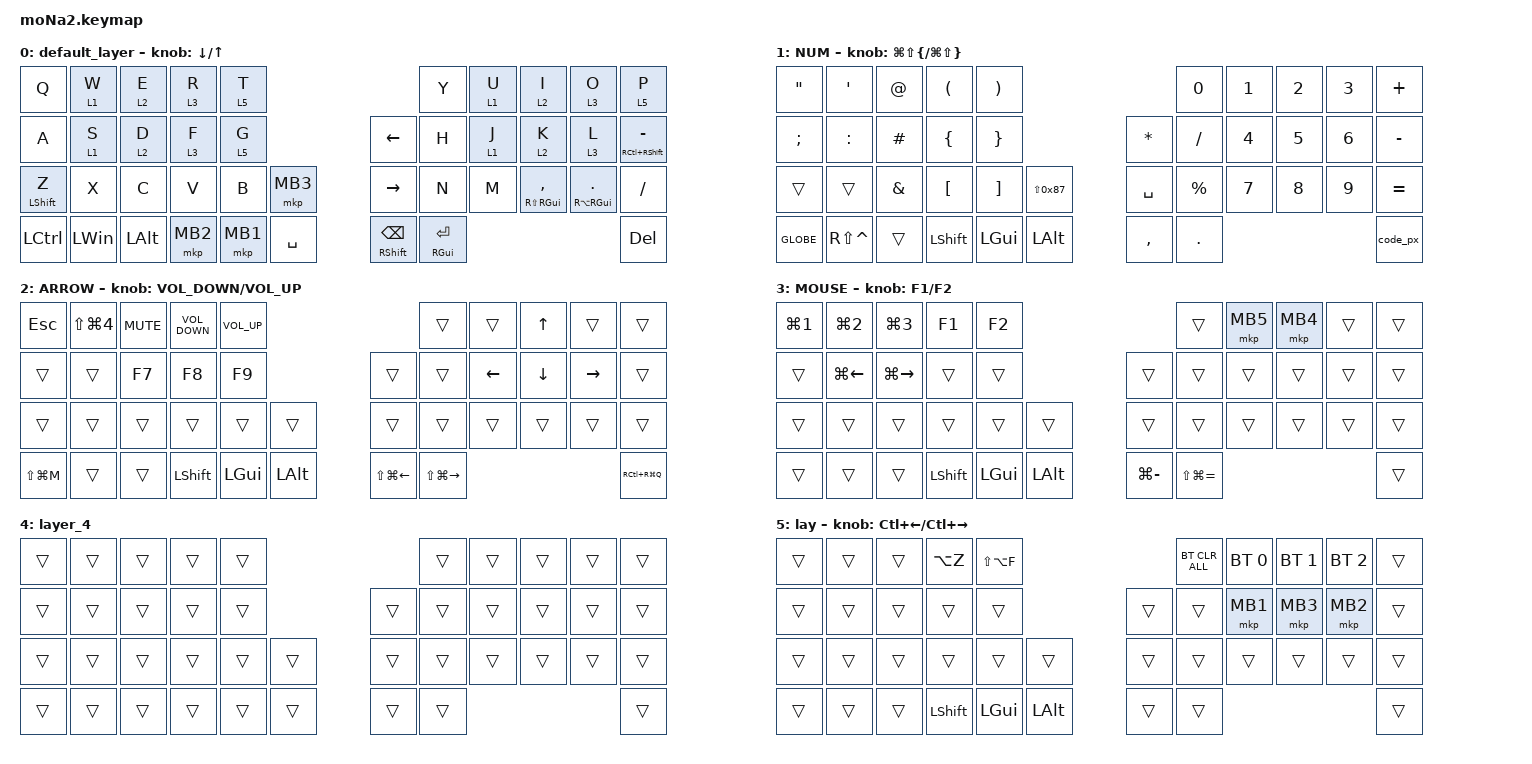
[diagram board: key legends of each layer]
#include <input/processors.dtsi>
#include <dt-bindings/zmk/input_transform.h>
#include <zephyr/dt-bindings/input/input-event-codes.h>
#include <behaviors.dtsi>
#include <dt-bindings/zmk/bt.h>
#include <dt-bindings/zmk/keys.h>
#include <dt-bindings/zmk/pointing.h>

#define MOUSE 5
#define SCROLL 6

&mt {
    flavor = "balanced";
    quick-tap-ms = <0>;
};

&lt {
    quick-tap-ms = <300>;
    flavor = "balanced";
};

/ {
    combos {
        compatible = "zmk,combos";

        tab {
            bindings = <&kp TAB>;
            key-positions = <12 13>;
        };

        shift_tab {
            bindings = <&kp LS(TAB)>;
            key-positions = <11 12>;
        };

        lang1 {
            bindings = <&kp LANG1>;
            key-positions = <7 8>;
        };

        lang2 {
            bindings = <&kp LANG2>;
            key-positions = <6 7>;
        };

        nami {
            bindings = <&kp RS(GRAVE)>;
            key-positions = <29 30>;
        };

        big {
            bindings = <&kp EXCLAMATION>;
            key-positions = <30 31>;
        };

        hatena {
            bindings = <&kp QUESTION>;
            key-positions = <32 31>;
        };

        click {
            bindings = <&mkp MB1>;
            key-positions = <17 18>;
        };

        click2 {
            bindings = <&mkp MB2>;
            key-positions = <18 19>;
        };

        kakko {
            bindings = <&kp LEFT_PARENTHESIS>;
            key-positions = <1 2>;
        };

        kakko2 {
            bindings = <&kp RIGHT_PARENTHESIS>;
            key-positions = <2 3>;
        };
    };

    macros {
        to_layer_0: to_layer_0 {
            compatible = "zmk,behavior-macro-one-param";
            #binding-cells = <1>;
            bindings = <&to 0 &macro_param_1to1 &kp MACRO_PLACEHOLDER>;
            label = "TO_LAYER_0";
        };

        code_px: new_macro {
            compatible = "zmk,behavior-macro";
            #binding-cells = <0>;
            bindings = <&kp LANG2 &kp P &kp X>;
            label = "NEW_MACRO";
        };
    };

    behaviors {
        lt_to_layer_0: lt_to_layer_0 {
            compatible = "zmk,behavior-hold-tap";
            label = "LAYER_TAP_TO_0";
            bindings = <&mo>, <&to_layer_0>;

            #binding-cells = <2>;
            tapping-term-ms = <200>;
        };

        scroll_up_down: mouse_wheel_up_down {
            compatible = "zmk,behavior-sensor-rotate";
            #sensor-binding-cells = <0>;
            bindings = <&msc SCRL_DOWN>, <&msc SCRL_UP>;

            tap-ms = <20>;
        };

        scroll_right_left: mouse_wheel_right_left {
            compatible = "zmk,behavior-sensor-rotate";
            #sensor-binding-cells = <0>;
            bindings = <&msc SCRL_LEFT>, <&msc SCRL_RIGHT>;

            tap-ms = <20>;
        };
    };

    keymap {
        compatible = "zmk,keymap";

        default_layer {
            bindings = <
&kp Q             &lt 1 W       &lt 2 E       &lt 3 R   &lt 5 T                                           &kp Y                &lt 1 U  &lt 2 I                  &lt 3 O                   &lt 5 P
&kp A             &lt 1 S       &lt 2 D       &lt 3 F   &lt 5 G                &kp LEFT_ARROW             &kp H                &lt 1 J  &lt 2 K                  &lt 3 L                   &mt RC(RIGHT_SHIFT) MINUS
&mt LEFT_SHIFT Z  &kp X         &kp C         &kp V     &kp B     &mkp MB3     &kp RIGHT_ARROW            &kp N                &kp M    &mt RS(RIGHT_GUI) COMMA  &mt RA(RIGHT_GUI) PERIOD  &kp SLASH
&kp LCTRL         &kp LEFT_WIN  &kp LEFT_ALT  &mkp MB2  &mkp MB1  &kp SPACE    &mt RIGHT_SHIFT BACKSPACE  &mt RIGHT_GUI ENTER                                                              &kp DEL
            >;

            sensor-bindings = <&inc_dec_kp DOWN_ARROW UP_ARROW>;
        };

        NUM {
            bindings = <
&kp DOUBLE_QUOTES  &kp SQT        &kp AT_SIGN  &kp LEFT_PARENTHESIS  &kp RIGHT_PARENTHESIS                                     &kp N0       &kp N1  &kp N2  &kp N3  &kp PLUS
&kp SEMI           &kp COLON      &kp POUND    &kp LEFT_BRACE        &kp RIGHT_BRACE                             &kp ASTERISK  &kp SLASH    &kp N4  &kp N5  &kp N6  &kp MINUS
&trans             &trans         &kp AMPS     &kp LBKT              &kp RBKT               &kp LS(0x87)         &kp SPACE     &kp PERCENT  &kp N7  &kp N8  &kp N9  &kp EQUAL
&kp GLOBE          &kp RS(CARET)  &trans       &kp LSHFT             &kp LGUI               &kp LALT             &kp COMMA     &kp PERIOD                           &code_px
            >;

            sensor-bindings = <&inc_dec_kp LG(LS(LEFT_BRACE)) LG(LS(RIGHT_BRACE))>;
        };

        ARROW {
            bindings = <
&kp ESCAPE     &kp LS(LG(NUMBER_4))  &kp K_MUTE  &kp C_VOLUME_DOWN  &kp C_VOLUME_UP                                &trans             &trans    &kp UP    &trans           &trans
&trans         &trans                &kp F7      &kp F8             &kp F9                       &trans            &trans             &kp LEFT  &kp DOWN  &kp RIGHT_ARROW  &trans
&trans         &trans                &trans      &trans             &trans           &trans      &trans            &trans             &trans    &trans    &trans           &trans
&kp LS(LG(M))  &trans                &trans      &kp LSHFT          &kp LGUI         &kp LALT    &kp LS(LG(LEFT))  &kp LS(LG(RIGHT))                                       &kp RC(RG(Q))
            >;

            sensor-bindings = <&inc_dec_kp C_VOLUME_DOWN C_VOLUME_UP>;
        };

        MOUSE {
            bindings = <
&kp LG(NUMBER_1)  &kp LG(N2)    &kp LG(N3)     &kp F1     &kp F2                               &trans             &mkp MB5  &mkp MB4  &trans  &trans
&trans            &kp LG(LEFT)  &kp LG(RIGHT)  &trans     &trans                &trans         &trans             &trans    &trans    &trans  &trans
&trans            &trans        &trans         &trans     &trans    &trans      &trans         &trans             &trans    &trans    &trans  &trans
&trans            &trans        &trans         &kp LSHFT  &kp LGUI  &kp LALT    &kp LG(MINUS)  &kp LS(LG(EQUAL))                              &trans
            >;

            sensor-bindings = <&inc_dec_kp F1 F2>;
        };

        layer_4 {
            bindings = <
&trans  &trans  &trans  &trans  &trans                    &trans  &trans  &trans  &trans  &trans
&trans  &trans  &trans  &trans  &trans            &trans  &trans  &trans  &trans  &trans  &trans
&trans  &trans  &trans  &trans  &trans  &trans    &trans  &trans  &trans  &trans  &trans  &trans
&trans  &trans  &trans  &trans  &trans  &trans    &trans  &trans                          &trans
            >;
        };

        lay {
            bindings = <
&trans  &trans  &trans  &kp LA(Z)  &kp LS(LA(F))                      &bt BT_CLR_ALL  &bt BT_SEL 0  &bt BT_SEL 1  &bt BT_SEL 2  &trans
&trans  &trans  &trans  &trans     &trans                     &trans  &trans          &mkp MB1      &mkp MB3      &mkp MB2      &trans
&trans  &trans  &trans  &trans     &trans         &trans      &trans  &trans          &trans        &trans        &trans        &trans
&trans  &trans  &trans  &kp LSHFT  &kp LGUI       &kp LALT    &trans  &trans                                                    &trans
            >;

            sensor-bindings = <&inc_dec_kp LC(LEFT_ARROW) LC(RIGHT_ARROW)>;
        };
    };
};
